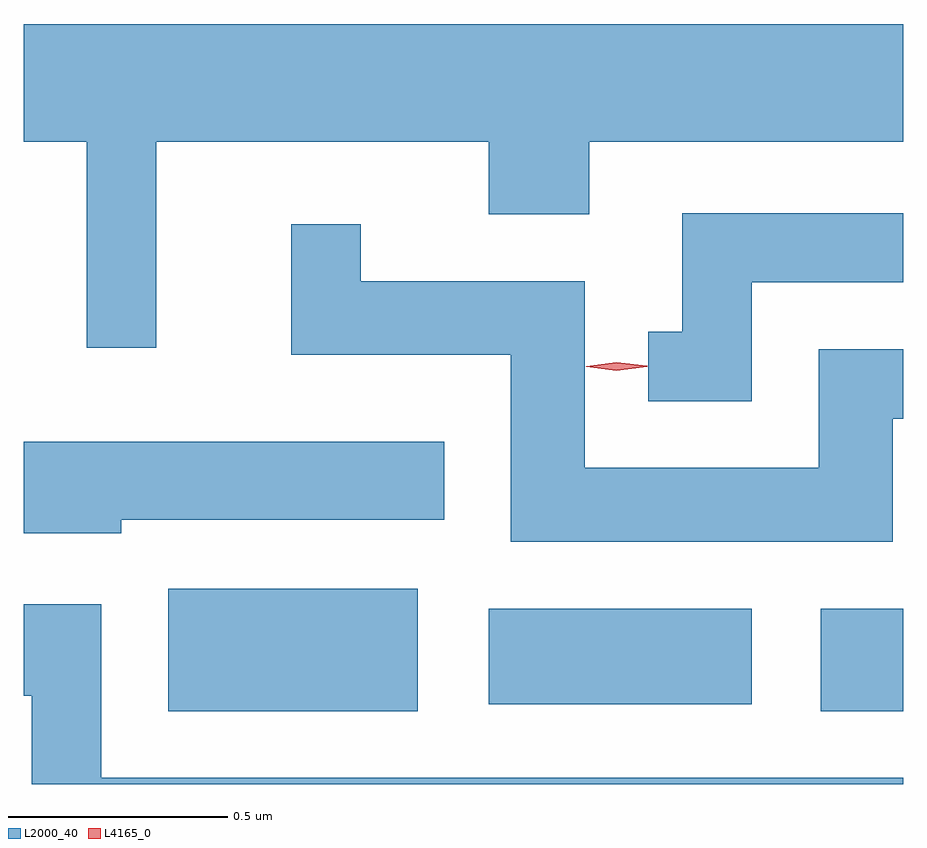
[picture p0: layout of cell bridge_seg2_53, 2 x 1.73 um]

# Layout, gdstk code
import gdstk
lib = gdstk.Library(unit=1e-6, precision=1e-09)
def R(c, l, rs):  # rectangles x0, y0, x1, y1
    for r in rs: c.add(gdstk.rectangle(r[:2], r[2:], *l))
def P(c, l, *ps):  # polygons
    for p in ps: c.add(gdstk.Polygon(p, *l))
L2000_40 = (2000, 40)
L4165_0 = (4165, 0)

bridge_seg2_53 = lib.new_cell('bridge_seg2_53')
R(bridge_seg2_53, L2000_40, [(1468.821,1055.901,1469.389,1056.179), (1470.306,1055.901,1470.493,1056.134), (1469.551,1055.916,1470.149,1056.134)])
P(bridge_seg2_53, L2000_40, [(1468.794,1057.196),(1469.551,1057.196),(1469.551,1057.031),(1469.779,1057.031),(1469.779,1057.196),(1470.493,1057.196),(1470.493,1057.464),(1468.493,1057.464),(1468.493,1057.196),(1468.636,1057.196),(1468.636,1056.728),(1468.794,1056.728)],
  [(1470.149,1056.876),(1470.493,1056.876),(1470.493,1057.034),(1469.991,1057.034),(1469.991,1056.764),(1469.913,1056.764),(1469.913,1056.606),(1470.149,1056.606)],
  [(1470.469,1056.566),(1470.493,1056.566),(1470.493,1056.724),(1470.301,1056.724),(1470.301,1056.454),(1469.769,1056.454),(1469.769,1056.879),(1469.259,1056.879),(1469.259,1057.008),(1469.101,1057.008),(1469.101,1056.711),(1469.601,1056.711),(1469.601,1056.286),(1470.469,1056.286)],
  [(1468.714,1056.336),(1469.449,1056.336),(1469.449,1056.514),(1468.493,1056.514),(1468.493,1056.306),(1468.714,1056.306)],
  [(1470.493,1055.749),(1468.669,1055.749),(1468.669,1056.144),(1468.493,1056.144),(1468.493,1055.936),(1468.511,1055.936),(1468.511,1055.735),(1470.493,1055.735)])
P(bridge_seg2_53, L4165_0, [(1469.841,1056.675),(1469.772,1056.684),(1469.772,1056.684),(1469.772,1056.685),(1469.841,1056.694),(1469.911,1056.686),(1469.911,1056.685),(1469.911,1056.684)])

lib.write_gds('bridge_seg2_53.gds')
